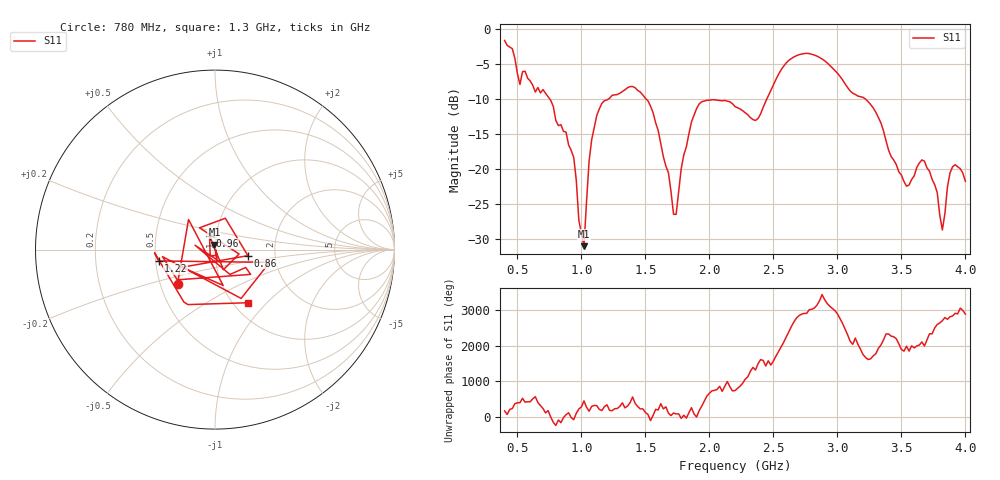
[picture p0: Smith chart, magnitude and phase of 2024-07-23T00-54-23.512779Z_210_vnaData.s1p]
!Created with skrf (http://scikit-rf.org).
# Hz S RI R 50.0
!freq ReS11 ImS11
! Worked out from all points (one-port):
!   181 points, 400 MHz to 4 GHz, reference 50 ohm
!   lowest |S11| = -31.0 dB at 1.02 GHz (marker M1), VSWR 1.06, Z = 49.6 + j2.78 ohm
!   |S11| at or under -10 dB: 753.8 MHz to 1.209 GHz (454.9 MHz wide, 46.4 % of centre); 1.507 GHz to 2.448 GHz (940.9 MHz wide, 47.6 % of centre); 3.221 GHz to end of sweep
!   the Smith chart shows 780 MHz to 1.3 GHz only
!   S11 on the Smith chart (normalised r, x): 780 MHz: 0.62, -0.25; 860 MHz: 1.44, -0.10; 960 MHz: 0.93, +0.15; 1.22 GHz: 0.52, -0.07; 1.3 GHz: 1.17, -0.79
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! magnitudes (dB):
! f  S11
! 400 MHz  -1.6
! 520 MHz  -7.9
! 560 MHz  -6.0
! 780 MHz  -11.0
! 860 MHz  -14.6
! 960 MHz  -21.6
! 980 MHz  -27.3
! 1.02 GHz  -31.0
! 1.08 GHz  -15.8
! 1.22 GHz  -9.9
! 1.3 GHz  -9.2
! 1.52 GHz  -10.2
! 1.68 GHz  -20.5
! 1.72 GHz  -26.5
! 1.76 GHz  -23.2
! 1.92 GHz  -10.7
! 2.2 GHz  -11.1
! 2.38 GHz  -12.8
! 2.66 GHz  -4.0
! 2.88 GHz  -4.2
! 3.1 GHz  -8.8
! 3.28 GHz  -11.3
! 3.56 GHz  -22.3
! 3.68 GHz  -18.9
! 3.78 GHz  -23.4
! 3.82 GHz  -28.7
! 3.9 GHz  -19.7
! 4 GHz  -21.7
